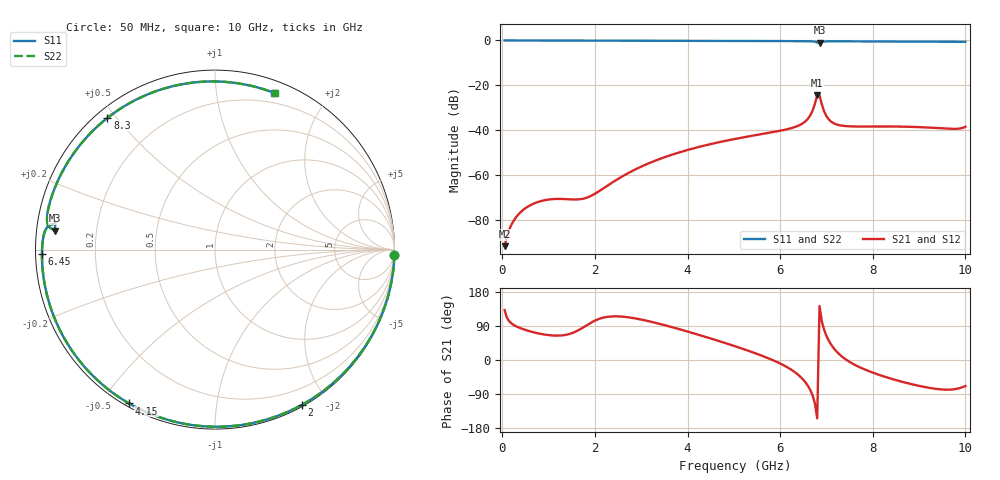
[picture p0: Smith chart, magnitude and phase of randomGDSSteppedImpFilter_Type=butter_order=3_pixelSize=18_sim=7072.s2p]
! freq	dB(S11)	phase(S11)	dB(S12)	phase(S12)
!  dB(S21)	phase(S21)	dB(S22)	phase(S22)
!S-par simulation data
#  GHz  S  DB  R 50
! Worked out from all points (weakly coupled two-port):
!   200 points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, 50 MHz to 10 GHz, reference 50 ohm
!   highest |S21| = -24.37 dB at 6.8 GHz (marker M1); lowest = -91.5 dB at 50 MHz (marker M2)
!   lowest |S11| = -0.9 dB at 6.85 GHz (marker M3), VSWR 18.74, Z = 2.68 + j2.92 ohm
!   |S11| at or under -10 dB: nowhere
!   |S22| runs from -0.9 to 0.0 dB; largest |S21 - S12| = 0
!   S11 on the Smith chart (normalised r, x): 50 MHz: 0, -73; 2 GHz: 0.02, -1.71; 4.15 GHz: 0.01, -0.59; 6.45 GHz: 0.02, -0.01; 8.3 GHz: 0.03, +0.47; 10 GHz: 0.11, +1.44
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0.05  -0.00 -1.6  -91.51 131.7  -91.51 131.7  -0.00 -1.6
0.25  -0.00 -7.8  -80.03 92.2  -80.03 92.2  -0.00 -7.8
0.5  -0.01 -15.7  -74.62 79.3  -74.62 79.3  -0.01 -15.7
0.85  -0.03 -26.5  -71.37 68.5  -71.37 68.5  -0.03 -26.5
1.75  -0.07 -53.5  -70.37 86.2  -70.37 86.2  -0.07 -53.5
2  -0.08 -60.8  -68.20 103.9  -68.20 103.9  -0.08 -60.8
2.7  -0.10 -80.6  -59.21 113.0  -59.21 113.0  -0.10 -80.6
3.4  -0.13 -99.6  -52.72 95.3  -52.72 95.3  -0.13 -99.6
4.15  -0.16 -119.2  -47.87 69.8  -47.87 69.8  -0.16 -119.2
5.05  -0.21 -142.1  -43.71 35.3  -43.71 35.3  -0.21 -142.1
6.45  -0.31 -178.5  -37.34 -45.7  -37.34 -45.7  -0.31 -178.5
6.6  -0.35 177.1  -34.81 -68.4  -34.81 -68.4  -0.35 177.1
6.7  -0.41 173.8  -31.25 -93.4  -31.25 -93.4  -0.41 173.8
6.8  -0.90 170.7  -24.37 -154.1  -24.37 -154.1  -0.90 170.6
6.85  -0.93 173.3  -24.42 142.4  -24.42 142.4  -0.93 173.2
7  -0.41 168.5  -33.70 63.5  -33.70 63.5  -0.41 168.5
7.15  -0.38 163.9  -36.77 32.3  -36.77 32.3  -0.38 163.8
7.45  -0.40 155.0  -38.15 -1.2  -38.15 -1.2  -0.40 155.0
8.3  -0.47 129.2  -38.27 -45.7  -38.27 -45.7  -0.47 129.1
8.35  -0.47 127.6  -38.27 -47.6  -38.27 -47.6  -0.47 127.5
9.2  -0.55 99.0  -38.73 -73.1  -38.73 -73.1  -0.55 98.9
10  -0.60 69.3  -38.38 -68.9  -38.38 -68.9  -0.60 69.1
